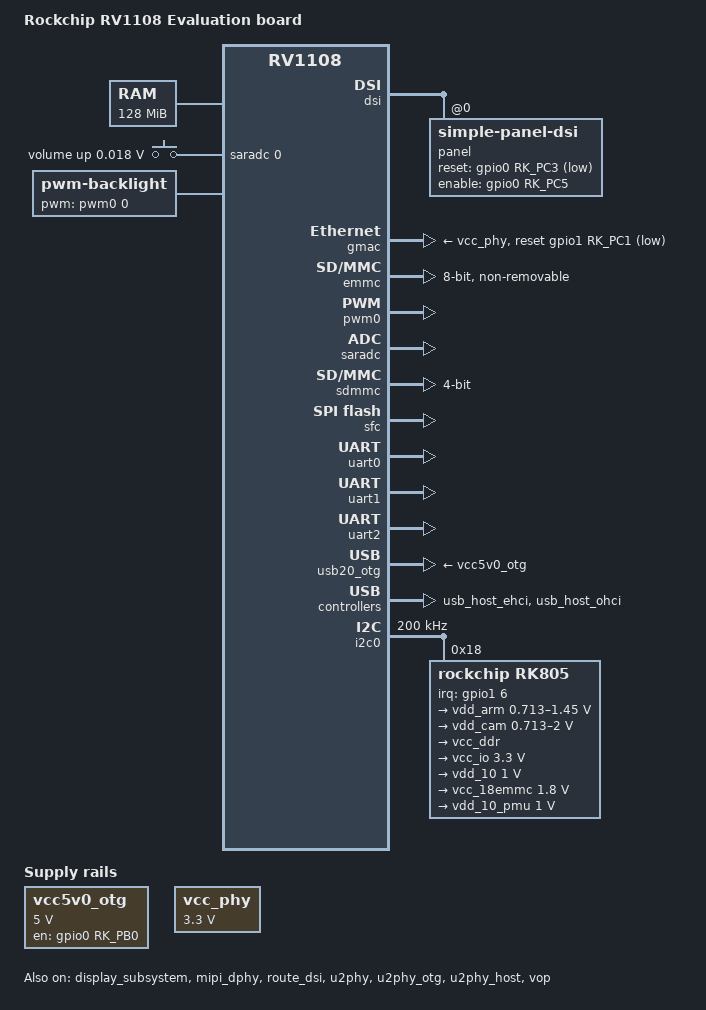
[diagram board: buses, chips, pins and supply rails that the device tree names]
/*
 * (C) Copyright 2016 Rockchip Electronics Co., Ltd
 *
 * SPDX-License-Identifier:     GPL-2.0+
 */

/dts-v1/;

#include "rv1108.dtsi"
#include "rv1108-u-boot.dtsi"
#include "rv1108-sdram-ddr3-400.dtsi"
#include <dt-bindings/input/input.h>

/ {
	model = "Rockchip RV1108 Evaluation board";
	compatible = "rockchip,rv1108-evb", "rockchip,rv1108";

	memory@60000000 {
		device_type = "memory";
		reg = <0x60000000 0x08000000>;
	};

	chosen {
		stdout-path = "serial2:1500000n8";
	};

	adc-keys {
		compatible = "adc-keys";
		io-channels = <&saradc 0>;
		volup-key {
			linux,code = <KEY_VOLUMEUP>;
			label = "volume up";
			press-threshold-microvolt = <18000>;
		};
	};

	backlight: backlight {
		compatible = "pwm-backlight";
		pwms = <&pwm0 0 25000 0>;
		default-brightness-level = <200>;
		brightness-levels = <
			  0   1   2   3   4   5   6   7
			  8   9  10  11  12  13  14  15
			 16  17  18  19  20  21  22  23
			 24  25  26  27  28  29  30  31
			 32  33  34  35  36  37  38  39
			 40  41  42  43  44  45  46  47
			 48  49  50  51  52  53  54  55
			 56  57  58  59  60  61  62  63
			 64  65  66  67  68  69  70  71
			 72  73  74  75  76  77  78  79
			 80  81  82  83  84  85  86  87
			 88  89  90  91  92  93  94  95
			 96  97  98  99 100 101 102 103
			104 105 106 107 108 109 110 111
			112 113 114 115 116 117 118 119
			120 121 122 123 124 125 126 127
			128 129 130 131 132 133 134 135
			136 137 138 139 140 141 142 143
			144 145 146 147 148 149 150 151
			152 153 154 155 156 157 158 159
			160 161 162 163 164 165 166 167
			168 169 170 171 172 173 174 175
			176 177 178 179 180 181 182 183
			184 185 186 187 188 189 190 191
			192 193 194 195 196 197 198 199
			200 201 202 203 204 205 206 207
			208 209 210 211 212 213 214 215
			216 217 218 219 220 221 222 223
			224 225 226 227 228 229 230 231
			232 233 234 235 236 237 238 239
			240 241 242 243 244 245 246 247
			248 249 250 251 252 253 254 255>;
	};

	vcc5v0_otg: vcc5v0-otg-drv {
		compatible = "regulator-fixed";
		enable-active-high;
		regulator-name = "vcc5v0_otg";
		gpio = <&gpio0 RK_PB0 GPIO_ACTIVE_HIGH>;
		regulator-min-microvolt = <5000000>;
		regulator-max-microvolt = <5000000>;
	};

	vcc_phy: vcc-phy-regulator {
		compatible = "regulator-fixed";
		enable-active-high;
		regulator-name = "vcc_phy";
		regulator-min-microvolt = <3300000>;
		regulator-max-microvolt = <3300000>;
		regulator-always-on;
		regulator-boot-on;
	};
};

&display_subsystem {
	status = "okay";
};

&dsi {
	status = "okay";

	panel: panel@0 {
		compatible = "simple-panel-dsi";
		reset-gpios = <&gpio0 RK_PC3 GPIO_ACTIVE_LOW>;
		enable-gpios = <&gpio0 RK_PC5 GPIO_ACTIVE_HIGH>;
		prepare-delay-ms = <20>;
		reset-delay-ms = <20>;
		init-delay-ms = <20>;
		enable-delay-ms = <20>;
		reg =<0>;
		dsi,flags = <(MIPI_DSI_MODE_VIDEO | MIPI_DSI_MODE_VIDEO_BURST |
			      MIPI_DSI_MODE_LPM | MIPI_DSI_MODE_EOT_PACKET)>;
		dsi,format = <MIPI_DSI_FMT_RGB888>;
		dsi,lanes = <4>;
		status = "okay";

		panel-init-sequence = [
			39 00 06 F0 55 AA 52 08 00
			39 00 05 B0 0F 0F 1E 14
			15 00 02 B2 00
			15 00 02 B6 03
			39 00 15 C0 03 00 06 07 08 09 00 00 00 00 02 00 0A 0B 0C 0D 00 00 00 00
			39 00 11 C1 08 24 24 01 18 24 9F 85 08 24 24 01 18 24 95 85
			39 00 19 C2 03 05 1B 24 13 31 01 05 1B 24 13 31 03 05 1B 38 00 11 02 05 1B 38 00 11
			39 00 19 C3 02 05 1B 24 13 11 03 05 1B 24 13 11 03 05 1B 38 00 11 02 05 1B 38 00 11
			39 00 06 F0 55 AA 52 08 01
			15 00 02 B5 1E
			15 00 02 B6 2D
			15 00 02 B7 04
			15 00 02 B8 05
			15 00 02 B9 04
			15 00 02 BA 14
			15 00 02 BB 2F
			15 00 02 BE 12
			39 00 04 C2 00 35 07
			39 00 06 F0 55 AA 52 08 02
			15 00 02 C9 13
			39 00 04 D4 02 04 2C
			39 00 24 E1 00 91 AE CB E6 54 FF 1e 33 43 55 4F 66 78 8B 55 9D AC C0 CF 55 E0 e8 F2 FB AA 03 0D 15 1F AA 27 2C 31 34
			39 00 24 E2 00 AD C6 E4 FD 55 11 2A 3B 49 55 54 6B 7C 8F 55 A1 AF C3 D1 55 E2 EA F3 FC AA 04 0E 15 20 AA 28 2D 32 35
			39 00 24 E3 55 05 1E 37 4B 55 5A 64 72 7F 55 8B A3 B8 D1 A5 E4 F6 0E 23 AA 39 42 4F 59 AA 64 70 7A 86 AA 90 96 9C 9F
			39 00 07 8F 5A 96 3C C3 A5 69
			15 00 02 89 00
			39 00 04 8C 55 49 53
			15 00 02 9A 5A
			39 00 05 FF A5 5A 13 86
			39 00 03 FE 01 54
			15 00 02 35 00
			15 96 02 11 00
			15 32 02 29 00
		];

		display-timings {
			native-mode = <&timing_e555hbm2>;

			timing_e555hbm2: timing0 {
				clock-frequency = <62000000>;
				hactive = <720>;
				vactive = <1280>;
				hsync-len = <4>;
				hback-porch = <20>;
				hfront-porch = <32>;
				vsync-len = <4>;
				vback-porch = <15>;
				vfront-porch = <15>;
				hsync-active = <0>;
				vsync-active = <0>;
				de-active = <0>;
				pixelclk-active = <0>;
			};
		};
	};
};

&gmac {
	status = "okay";
	clock_in_out ="output";
	phy-supply = <&vcc_phy>;
	snps,reset-active-low;
	snps,reset-delays-us = <0 10000 1000000>;
	snps,reset-gpio = <&gpio1 RK_PC1 GPIO_ACTIVE_LOW>;
};

&emmc {
	bus-width = <8>;
	cap-mmc-highspeed;
	supports-emmc;
	disable-wp;
	non-removable;
	num-slots = <1>;
	status = "okay";
};

&mipi_dphy {
	status = "okay";
};

&pwm0 {
	status = "okay";
};

&route_dsi {
	status = "okay";
};

&saradc {
	status = "okay";
};

&sdmmc {
	bus-width = <4>;
	cap-mmc-highspeed;
	cap-sd-highspeed;
	disable-wp;
	max-frequency = <150000000>;
	pinctrl-names = "default";
	pinctrl-0 = <&sdmmc_clk &sdmmc_cmd &sdmmc_cd &sdmmc_bus4>;
	status = "okay";
};

&sfc {
	compatible = "rockchip,rksfc";
	status = "okay";
};

&u2phy {
	status = "okay";
};

&u2phy_otg {
	status = "okay";
};

&u2phy_host {
	status = "okay";
};

&uart0 {
	status = "okay";
};

&uart1 {
	status = "okay";
};

&uart2 {
	status = "okay";
};

&usb20_otg {
	vbus-supply = <&vcc5v0_otg>;
	status = "okay";
};

&usb_host_ehci {
	status = "okay";
};

&usb_host_ohci {
	status = "okay";
};

&vop {
	status = "okay";
};

&i2c0 {
	i2c-scl-rising-time-ns = <275>;
	i2c-scl-falling-time-ns = <16>;
	clock-frequency = <200000>;
	nack-retry = <1>;
	status = "okay";

	rk805: pmic@18 {
		compatible = "rockchip,rk805";
		status = "okay";
		reg = <0x18>;
		interrupt-parent = <&gpio1>;
		interrupts = <6 IRQ_TYPE_LEVEL_LOW>;
		pinctrl-names = "default";
		pinctrl-0 = <&pmic_int_l>;
		rockchip,system-power-controller;
		wakeup-source;
		gpio-controller;
		#gpio-cells = <2>;
		#clock-cells = <1>;
		clock-output-names = "xin32k", "rk805-clkout2";

		pwrkey {
			status = "okay";
		};

		regulators {
			vdd_arm: DCDC_REG1 {
				regulator-name = "vdd_arm";
				regulator-min-microvolt = <712500>;
				regulator-max-microvolt = <1450000>;
				regulator-ramp-delay = <6001>;
				regulator-boot-on;
				regulator-always-on;
				regulator-state-mem {
					regulator-on-in-suspend;
					regulator-suspend-microvolt = <1000000>;
				};
			};

			vdd_cam: DCDC_REG2 {
				regulator-name = "vdd_cam";
				regulator-min-microvolt = <712500>;
				regulator-max-microvolt = <2000000>;
				regulator-ramp-delay = <6001>;
				regulator-boot-on;
				regulator-always-on;
				regulator-state-mem {
					regulator-on-in-suspend;
					regulator-suspend-microvolt = <2000000>;
				};
			};

			vcc_ddr: DCDC_REG3 {
				regulator-name = "vcc_ddr";
				regulator-boot-on;
				regulator-always-on;
				regulator-state-mem {
					regulator-on-in-suspend;
				};
			};

			vcc_io: DCDC_REG4 {
				regulator-name = "vcc_io";
				regulator-min-microvolt = <3300000>;
				regulator-max-microvolt = <3300000>;
				regulator-boot-on;
				regulator-always-on;
				regulator-state-mem {
					regulator-on-in-suspend;
					regulator-suspend-microvolt = <3300000>;
				};
			};

			vdd_10: LDO_REG1 {
				regulator-name = "vdd_10";
				regulator-min-microvolt = <1000000>;
				regulator-max-microvolt = <1000000>;
				regulator-boot-on;
				regulator-always-on;
				regulator-state-mem {
					regulator-on-in-suspend;
					regulator-suspend-microvolt = <1000000>;
				};
			};

			vcc_18emmc: LDO_REG2 {
				regulator-name = "vcc_18emmc";
				regulator-min-microvolt = <1800000>;
				regulator-max-microvolt = <1800000>;
				regulator-boot-on;
				regulator-always-on;
				regulator-state-mem {
					regulator-on-in-suspend;
					regulator-suspend-microvolt = <1800000>;
				};
			};

			vdd_10_pmu: LDO_REG3 {
				regulator-name = "vdd_10_pmu";
				regulator-min-microvolt = <1000000>;
				regulator-max-microvolt = <1000000>;
				regulator-boot-on;
				regulator-always-on;
				regulator-state-mem {
					regulator-on-in-suspend;
					regulator-suspend-microvolt = <1000000>;
				};
			};
		};
	};
};

&pinctrl {
	pmic {
		pmic_int_l: pmic-int-l {
		rockchip,pins =
			<0 RK_PB4 RK_FUNC_GPIO &pcfg_pull_up>;
		};
	};
};
